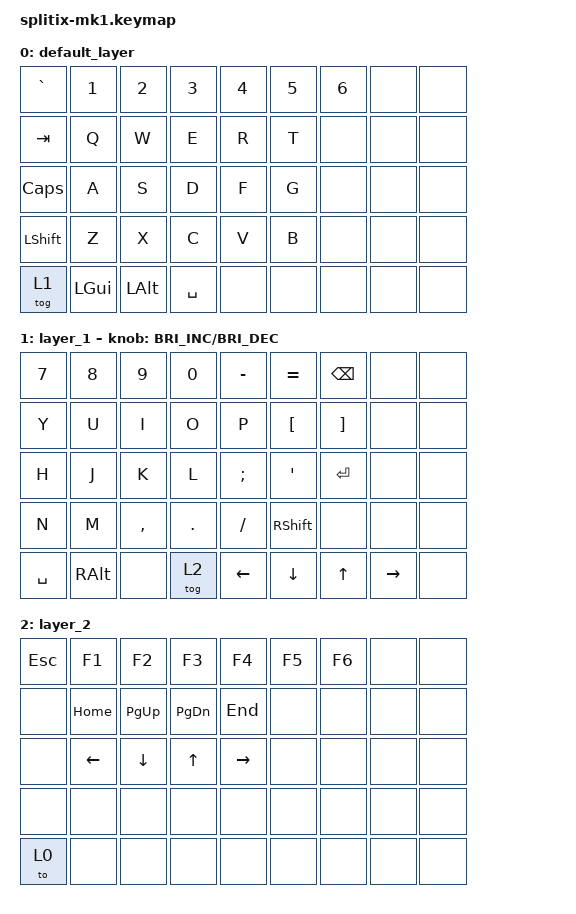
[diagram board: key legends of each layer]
#include <behaviors.dtsi>
#include <dt-bindings/zmk/keys.h>

/ {
    keymap {
        compatible = "zmk,keymap";

        default_layer {
            bindings = <
                &kp GRAVE &kp N1   &kp N2   &kp N3   &kp N4   &kp N5   &kp N6   &none    &none
                &kp TAB  &kp Q    &kp W    &kp E    &kp R    &kp T    &none    &none    &none
                &kp CAPS &kp A    &kp S    &kp D    &kp F    &kp G    &none    &none    &none
                &kp LSHFT &kp Z   &kp X    &kp C    &kp V    &kp B    &none    &none    &none
                &tog 1   &kp LGUI  &kp LALT &kp SPACE &none    &none    &none    &none    &none
            >;
        };

        layer_1 {
            bindings = <
                &kp N7   &kp N8   &kp N9   &kp N0   &kp MINUS &kp EQUAL &kp BSPC &none    &none
                &kp Y    &kp U    &kp I    &kp O    &kp P    &kp LBKT  &kp RBKT &none    &none
                &kp H    &kp J    &kp K    &kp L    &kp SEMI &kp SQT   &kp RET  &none    &none
                &kp N    &kp M    &kp COMMA &kp DOT  &kp FSLH &kp RSHFT &none    &none    &none
                &kp SPACE &kp RALT &none &tog 2 &kp LEFT  &kp DOWN  &kp UP   &kp RIGHT &none
            >;

            sensor-bindings = <&inc_dec_kp C_BRIGHTNESS_INC C_BRIGHTNESS_DEC>;
        };

        layer_2 {
            bindings = <
                &kp ESC   &kp F1   &kp F2   &kp F3   &kp F4   &kp F5   &kp F6   &none    &none
                &none    &kp HOME &kp PG_UP &kp PG_DN &kp END  &none    &none    &none    &none
                &none    &kp LEFT &kp DOWN &kp UP    &kp RIGHT &none    &none    &none    &none
                &none    &none   &none    &none    &none    &none    &none    &none    &none
                &to 0    &none   &none    &none    &none    &none    &none    &none    &none
            >;
        };
    };
};
